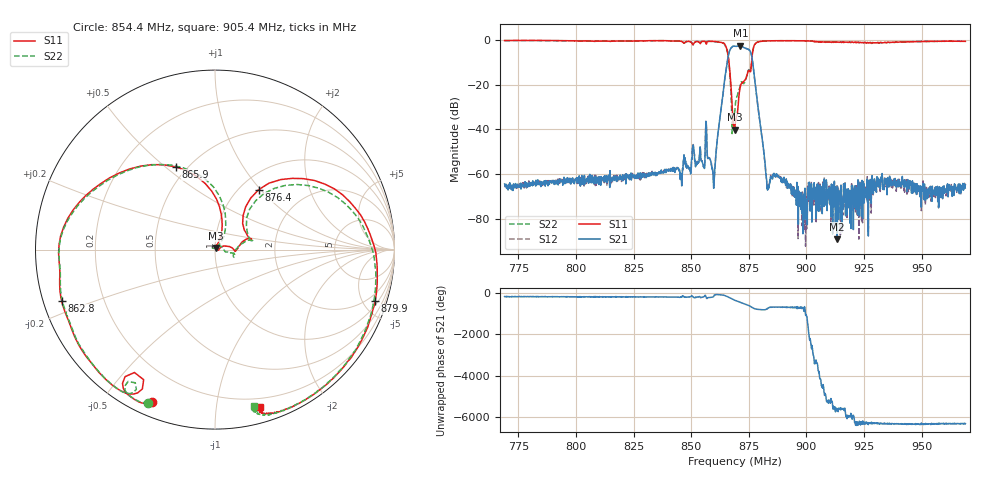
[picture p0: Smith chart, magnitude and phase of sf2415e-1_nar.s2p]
!Agilent Technologies,E5071C,MY46104547,A.08.12
!Date: Thu Feb 23 09:45:44 2017
!Data & Calibration Information:
!Freq	S11:SOLT2(ON)	S21:SOLT2(ON)	S12:SOLT2(ON)	S22:SOLT2(ON)
# Hz S RI R 50
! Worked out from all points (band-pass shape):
!   1601 points, 769 MHz to 969 MHz, reference 50 ohm
!   highest |S21| = -2.43 dB at 871.4 MHz (marker M1); lowest = -89.3 dB at 913.4 MHz (marker M2)
!   |S21| within 3 dB of the highest: 866.4 MHz to 875.8 MHz (9.4 MHz wide, 1.08 % of centre)
!   lowest |S11| = -40.1 dB at 868.9 MHz (marker M3), VSWR 1.02, Z = 50.4 + j0.919 ohm
!   |S11| at or under -10 dB: 866.4 MHz to 876.2 MHz (9.778 MHz wide, 1.12 % of centre)
!   |S22| runs from -41.9 to -0.1 dB; largest |S21 - S12| = 0.002
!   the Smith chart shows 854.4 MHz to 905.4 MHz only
!   S11 on the Smith chart (normalised r, x): 854.4 MHz: 0.06, -0.67; 862.8 MHz: 0.05, -0.16; 865.9 MHz: 0.44, +0.54; 876.4 MHz: 1.21, +0.98; 879.9 MHz: 1.28, -6.10; 905.4 MHz: 0.12, -1.32
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7.69e8  0.1782 -0.9683  -0.000595 -7.01e-05  -0.000505 -4.66e-05  0.1562 -0.9715
8.02375e8  0.0656 -0.9574  -0.000583 2.73e-05  -0.000584 -6.85e-05  0.0398 -0.953
8.3575e8  -0.1176 -0.9713  -0.00098 0.000294  -0.00103 0.000296  -0.1343 -0.9682
8.54375e8  -0.3505 -0.8502  -0.00166 0.00107  -0.00172 0.00103  -0.371 -0.852
8.57125e8  -0.4745 -0.8045  -0.0012 0.00188  -0.00133 0.00188  -0.5151 -0.7926
8.5975e8  -0.6692 -0.6563  -0.00048 -1.82e-05  -0.000535 -0.000165  -0.6799 -0.641
8.6275e8  -0.8538 -0.2881  0.00154 -0.0237  0.00151 -0.0239  -0.8551 -0.2668
8.65875e8  -0.2191 0.4611  -0.3858 0.0466  -0.3853 0.048  -0.1779 0.4559
8.675e8  0.0248 0.0544  0.1567 0.6706  0.1553 0.6697  0.0184 0.023
8.68875e8  0.00372 0.00912  0.7221 0.1194  0.7222 0.1205  0.0104 0.0225
8.69e8  0.00769 0.00916  0.7284 0.054  0.7285 0.0547  0.0177 0.022
8.71375e8  0.0948 0.0103  -0.0208 -0.756  -0.0206 -0.756  0.1025 -0.0213
8.73625e8  0.1358 0.0206  -0.6587 0.0363  -0.6588 0.0363  0.1274 0.0142
8.75e8  0.2043 0.0583  -0.2272 0.5734  -0.2276 0.5732  0.2142 0.0479
8.76375e8  0.2433 0.3339  0.3789 0.1499  0.3787 0.1488  0.2754 0.3138
8.79875e8  0.8924 -0.2876  0.00133 -0.0138  0.00132 -0.0138  0.8753 -0.333
8.83375e8  0.7429 -0.6195  0.000449 -5.19e-05  0.000456 4.15e-05  0.7171 -0.6491
9.02375e8  0.2819 -0.9162  8.27e-05 -1.28e-05  8.7e-05 -0.000103  0.2508 -0.9183
9.05375e8  0.2489 -0.8789  -4.16e-05 0.000141  -4.87e-05 0.000131  0.2157 -0.874
9.13375e8  0.2145 -0.8746  1.53e-05 3.08e-05  -1.86e-05 3.48e-05  0.1933 -0.8854
9.3575e8  0.1773 -0.8812  -0.000427 0.000286  -0.000484 0.000186  0.1525 -0.8819
9.69e8  0.086 -0.9414  -0.000566 0.000101  -0.000458 9.37e-05  0.0613 -0.9431
